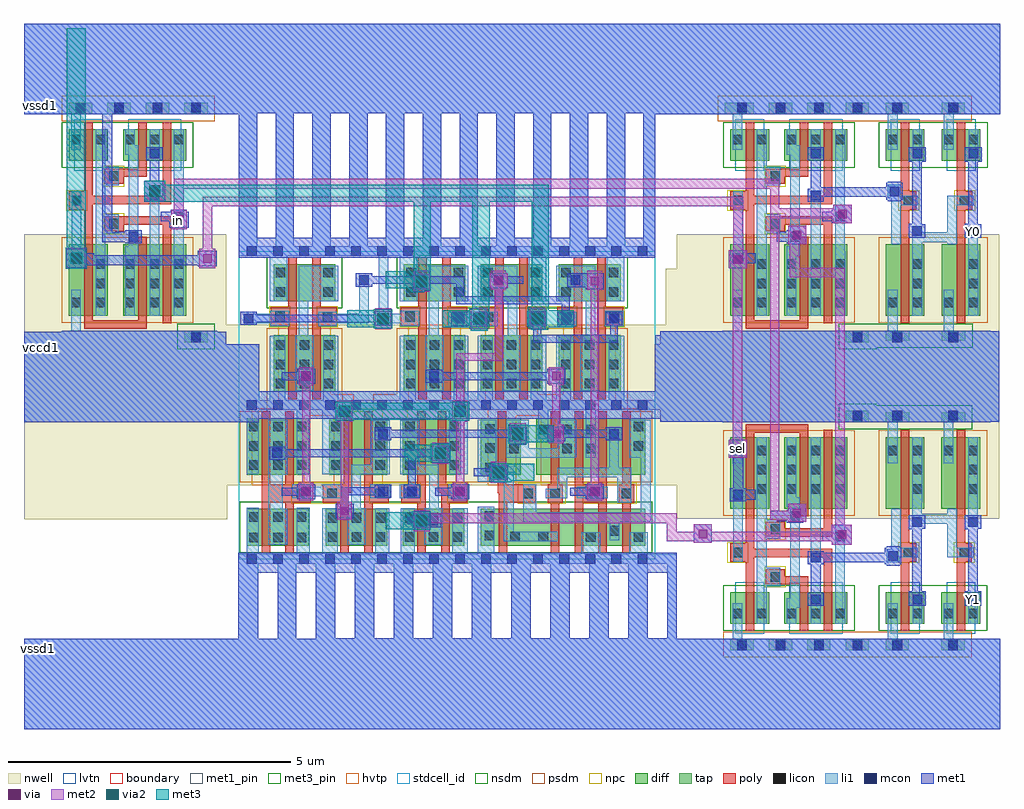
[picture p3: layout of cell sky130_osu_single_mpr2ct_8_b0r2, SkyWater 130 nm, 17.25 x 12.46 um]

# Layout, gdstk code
import gdstk
lib = gdstk.Library(unit=1e-6, precision=1e-09)
def R(c, l, rs):  # rectangles x0, y0, x1, y1
    for r in rs: c.add(gdstk.rectangle(r[:2], r[2:], *l))
def A(c, l, x, y, w, h, nx, ny, dx, dy):  # array of equal rectangles
    R(c, l, [(x+i*dx, y+j*dy, x+i*dx+w, y+j*dy+h) for i in range(nx) for j in range(ny)])
nwell = (64, 20)
diff = (65, 20)
tap = (65, 44)
poly = (66, 20)
licon = (66, 44)
li1 = (67, 20)
mcon = (67, 44)
met1_pin = (68, 16)
met1 = (68, 20)
via = (68, 44)
met2 = (69, 20)
via2 = (69, 44)
met3_pin = (70, 16)
met3 = (70, 20)
hvtp = (78, 44)
stdcell_id = (81, 4)
nsdm = (93, 44)
psdm = (94, 20)
npc = (95, 20)
lvtn = (125, 44)
boundary = (235, 4)

sky130_osu_sc_12t_hs__mu = lib.new_cell('sky130_osu_sc_12T_hs__mux2_1')
R(sky130_osu_sc_12t_hs__mu, nwell, [(-0.05,2.42,2.76,4.51)])
R(sky130_osu_sc_12t_hs__mu, diff, [(0.13,0.57,0.815,1.12), (1.085,0.57,2.2,1.12), (0.13,2.6,0.815,3.86), (1.085,2.6,2.2,3.86)])
A(sky130_osu_sc_12t_hs__mu, tap, 0.13, 0.1, 0.41, 0.2, 4, 1, 0.68, 0)
R(sky130_osu_sc_12t_hs__mu, tap, [(2.17,4.13,2.58,4.33)])
R(sky130_osu_sc_12t_hs__mu, poly, [(0.4,0.44,0.55,1.66), (1.355,0.44,1.505,1.26), (1.785,0.44,1.935,1.74), (0.76,1.26,1.505,1.41), (0.76,1.41,1.095,1.53), (0.13,1.66,0.55,1.74), (0.13,1.74,1.935,1.89), (0.13,1.89,0.55,1.99), (0.4,1.99,0.55,3.94), (0.76,2.1,1.935,2.25), (0.76,2.25,1.095,2.37), (1.785,2.25,1.935,3.99), (1.355,2.47,1.505,3.94), (0.4,3.94,1.505,4.09)])
A(sky130_osu_sc_12t_hs__mu, licon, 0.25, 0.13, 0.17, 0.17, 4, 1, 0.68, 0)
A(sky130_osu_sc_12t_hs__mu, licon, 0.605, 2.865, 0.17, 0.17, 1, 3, 0, 0.34)
A(sky130_osu_sc_12t_hs__mu, licon, 1.125, 2.865, 0.17, 0.17, 1, 3, 0, 0.34)
A(sky130_osu_sc_12t_hs__mu, licon, 1.56, 2.865, 0.17, 0.17, 1, 3, 0, 0.34)
A(sky130_osu_sc_12t_hs__mu, licon, 1.99, 2.865, 0.17, 0.17, 1, 3, 0, 0.34)
R(sky130_osu_sc_12t_hs__mu, licon, [(0.17,0.665,0.34,0.835), (0.605,0.665,0.775,0.835), (1.125,0.665,1.295,0.835), (1.56,0.665,1.73,0.835), (1.99,0.665,2.16,0.835), (0.84,1.31,1.01,1.48), (0.18,1.74,0.35,1.91), (0.84,2.15,1.01,2.32), (0.17,3.545,0.34,3.715), (2.29,4.13,2.46,4.3)])
R(sky130_osu_sc_12t_hs__mu, li1, [(0,0,2.75,0.3), (0.17,0.3,0.34,0.93), (0.6,0.57,0.775,1.06), (1.125,0.57,1.295,0.85), (1.555,0.57,1.73,1.08), (1.985,0.57,2.16,1.12), (1.125,0.85,1.355,1.02), (1.185,1.02,1.355,2.63), (0.6,1.06,0.77,1.23), (1.985,1.12,2.155,2.72), (0.6,1.23,1.01,1.56), (0.6,1.56,0.77,2.07), (1.555,1.65,1.725,2.6), (0.18,1.66,0.35,2.93), (0.6,2.07,1.01,2.4), (0.6,2.4,0.77,2.6), (0.6,2.6,0.775,3.86), (1.555,2.6,1.73,3.86), (1.125,2.63,1.355,2.8), (1.985,2.72,2.16,3.86), (1.125,2.8,1.295,3.86), (0.17,3.4,0.34,4.13), (0,4.13,2.75,4.44)])
A(sky130_osu_sc_12t_hs__mu, mcon, 0.25, 0.1, 0.17, 0.17, 4, 1, 0.68, 0)
R(sky130_osu_sc_12t_hs__mu, mcon, [(1.555,0.91,1.725,1.08), (1.555,1.65,1.725,1.82), (1.985,2.02,2.155,2.19), (1.185,2.38,1.355,2.55), (0.18,2.76,0.35,2.93), (2.29,4.16,2.46,4.33)])
R(sky130_osu_sc_12t_hs__mu, met1, [(0,0,2.75,0.3), (1.495,0.88,1.785,1.11), (1.555,1.11,1.725,1.62), (1.495,1.62,1.785,1.85), (1.925,1.99,2.215,2.02), (1.755,2.02,2.215,2.19), (1.925,2.19,2.215,2.22), (1.125,2.35,1.415,2.38), (0.95,2.38,1.415,2.55), (1.125,2.55,1.415,2.58), (0.12,2.73,0.41,2.76), (0.12,2.76,0.58,2.93), (0.12,2.93,0.41,2.96), (0,4.13,2.75,4.44)])
R(sky130_osu_sc_12t_hs__mu, nsdm, [(0.005,0.445,2.325,1.245), (2.045,4.005,2.705,4.455)])
R(sky130_osu_sc_12t_hs__mu, psdm, [(0.005,-0.025,2.705,0.425), (0.005,2.475,2.325,3.985)])
R(sky130_osu_sc_12t_hs__mu, npc, [(0.74,1.21,1.11,1.58), (0.08,1.64,0.45,2.01), (0.74,2.05,1.11,2.42)])
R(sky130_osu_sc_12t_hs__mu, lvtn, [(0.22,0.39,0.73,1.3), (1.175,0.39,2.115,1.3)])
sky130_osu_sc_12t_hs__mu.add(gdstk.Label('S0', (0.27,2.85), layer=68, texttype=5))
sky130_osu_sc_12t_hs__mu.add(gdstk.Label('Y', (1.645,1.74), layer=68, texttype=5))
sky130_osu_sc_12t_hs__mu.add(gdstk.Label('A0', (1.265,2.47), layer=68, texttype=5))
sky130_osu_sc_12t_hs__mu.add(gdstk.Label('A1', (2.075,2.11), layer=68, texttype=5))
sky130_osu_sc_12t_hs__mu.add(gdstk.Label('vccd1', (2.38,4.2), layer=68, texttype=5))
sky130_osu_sc_12t_hs__mu.add(gdstk.Label('vssd1 ', (0.34,0.24), layer=68, texttype=5))

sky130_osu_sc_12t_hs__in = lib.new_cell('sky130_osu_sc_12T_hs__inv_1')
R(sky130_osu_sc_12t_hs__in, nwell, [(-0.05,2.42,0.995,4.51)])
R(sky130_osu_sc_12t_hs__in, diff, [(0.13,0.57,0.815,1.12), (0.13,2.6,0.815,3.86)])
R(sky130_osu_sc_12t_hs__in, tap, [(0.13,0.1,0.54,0.3), (0.13,4.13,0.55,4.3)])
R(sky130_osu_sc_12t_hs__in, poly, [(0.4,0.44,0.55,1.66), (0.4,1.66,0.67,1.99), (0.4,1.99,0.55,3.99)])
A(sky130_osu_sc_12t_hs__in, licon, 0.605, 2.865, 0.17, 0.17, 1, 3, 0, 0.34)
R(sky130_osu_sc_12t_hs__in, licon, [(0.25,0.13,0.42,0.3), (0.17,0.665,0.34,0.835), (0.605,0.665,0.775,0.835), (0.45,1.74,0.62,1.91), (0.17,3.545,0.34,3.715), (0.25,4.13,0.42,4.3)])
R(sky130_osu_sc_12t_hs__in, li1, [(0,0,0.99,0.3), (0.17,0.3,0.34,0.93), (0.605,0.57,0.775,1.08), (0.23,1.74,0.7,1.91), (0.23,1.91,0.4,2.6), (0.6,2.28,0.77,2.715), (0.6,2.715,0.775,3.86), (0.17,3.4,0.34,4.13), (0,4.13,0.99,4.44)])
R(sky130_osu_sc_12t_hs__in, mcon, [(0.25,0.1,0.42,0.27), (0.605,0.91,0.775,1.08), (0.6,2.28,0.77,2.45), (0.25,4.16,0.42,4.33)])
R(sky130_osu_sc_12t_hs__in, met1, [(0,0,0.99,0.3), (0.54,0.88,0.835,1.14), (0.6,1.14,0.77,2.24), (0.54,2.24,0.77,2.245), (0.54,2.245,0.83,2.48), (0,4.13,0.99,4.44)])
R(sky130_osu_sc_12t_hs__in, nsdm, [(0.005,0.445,0.94,1.245), (0.005,4.005,0.675,4.425)])
R(sky130_osu_sc_12t_hs__in, psdm, [(0.005,-0.025,0.665,0.425), (0.005,2.475,0.94,3.985)])
R(sky130_osu_sc_12t_hs__in, npc, [(0.35,1.64,0.72,2.01)])
R(sky130_osu_sc_12t_hs__in, lvtn, [(0.22,0.39,0.73,1.3)])
sky130_osu_sc_12t_hs__in.add(gdstk.Label('A', (0.32,1.85), layer=67, texttype=5))
sky130_osu_sc_12t_hs__in.add(gdstk.Label('Y', (0.75,1.72), layer=68, texttype=5))
sky130_osu_sc_12t_hs__in.add(gdstk.Label('vccd1', (0.34,4.2), layer=68, texttype=5))
sky130_osu_sc_12t_hs__in.add(gdstk.Label('vssd1', (0.34,0.24), layer=68, texttype=5))

scs130hd_mpr2ct_8 = lib.new_cell('scs130hd_mpr2ct_8')
R(scs130hd_mpr2ct_8, nwell, [(-0.19,1.305,7.55,2.31), (-0.215,2.31,7.55,3.15), (-0.19,3.15,7.55,4.135)])
R(scs130hd_mpr2ct_8, diff, [(0.145,0.235,1.235,0.885), (1.535,0.235,2.625,0.885), (2.895,0.235,3.985,0.885), (4.275,0.235,7.185,0.885), (0.145,1.485,1.235,2.485), (1.595,1.485,2.625,2.485), (2.895,1.485,3.925,2.485), (4.275,1.485,4.985,2.485), (5.255,1.485,7.185,2.485), (0.615,2.955,1.705,3.955), (2.915,2.955,4.005,3.955), (4.275,2.955,5.365,3.955), (5.655,2.955,6.745,3.955), (0.615,4.555,1.705,5.205), (2.915,4.555,4.005,5.205), (4.275,4.555,5.365,5.205), (5.655,4.555,6.745,5.205)])
A(scs130hd_mpr2ct_8, poly, 5.515, 0.105, 0.15, 0.89, 4, 1, 0.42, 0)
A(scs130hd_mpr2ct_8, poly, 5.515, 1.325, 0.15, 1.29, 4, 1, 0.42, 0)
R(scs130hd_mpr2ct_8, poly, [(0.405,0.105,0.555,0.995), (0.825,0.105,0.975,0.995), (1.795,0.105,1.945,0.995), (2.215,0.105,2.365,0.995), (3.155,0.105,3.305,0.995), (3.575,0.105,3.725,0.995), (4.595,0.105,4.745,0.995), (0.405,0.995,1.275,1.325), (1.485,0.995,1.945,1.175), (2.215,0.995,2.65,1.325), (2.87,0.995,3.305,1.325), (3.575,0.995,4.035,1.175), (4.595,0.995,5.245,1.16), (5.455,0.995,5.725,1.325), (5.935,0.995,6.505,1.325), (6.715,0.995,6.985,1.325), (4.575,1.16,5.245,1.325), (1.485,1.175,2.005,1.325), (3.515,1.175,4.035,1.325), (0.405,1.325,0.555,2.615), (0.825,1.325,0.975,2.615), (1.855,1.325,2.005,2.615), (2.215,1.325,2.365,2.615), (3.155,1.325,3.305,2.615), (3.515,1.325,3.665,2.615), (4.575,1.325,4.725,2.615), (0.875,2.825,1.025,4.115), (1.295,2.825,1.445,4.115), (3.175,2.825,3.325,4.115), (3.595,2.825,3.745,4.115), (4.535,2.825,4.685,4.115), (4.955,2.825,5.105,4.115), (5.915,2.825,6.065,4.115), (6.335,2.825,6.485,4.115), (0.565,4.115,1.025,4.445), (1.295,4.115,1.735,4.445), (2.865,4.115,3.325,4.445), (3.595,4.115,4.035,4.445), (4.245,4.115,4.685,4.445), (4.955,4.115,5.415,4.445), (5.625,4.115,6.065,4.445), (6.335,4.115,6.795,4.445), (0.875,4.445,1.025,5.335), (1.295,4.445,1.445,5.335), (3.175,4.445,3.325,5.335), (3.595,4.445,3.745,5.335), (4.535,4.445,4.685,5.335), (4.955,4.445,5.105,5.335), (5.915,4.445,6.065,5.335), (6.335,4.445,6.485,5.335)])
A(scs130hd_mpr2ct_8, licon, 0.185, 0.295, 0.17, 0.17, 3, 2, 0.42, 0.36)
A(scs130hd_mpr2ct_8, licon, 1.575, 0.305, 0.17, 0.17, 3, 2, 0.42, 0.34)
A(scs130hd_mpr2ct_8, licon, 2.935, 0.305, 0.17, 0.17, 3, 2, 0.42, 0.34)
A(scs130hd_mpr2ct_8, licon, 4.355, 1.535, 0.17, 0.17, 1, 3, 0, 0.34)
A(scs130hd_mpr2ct_8, licon, 0.185, 1.575, 0.17, 0.17, 3, 3, 0.42, 0.34)
A(scs130hd_mpr2ct_8, licon, 1.635, 1.575, 0.17, 0.17, 1, 3, 0, 0.34)
A(scs130hd_mpr2ct_8, licon, 2.415, 1.575, 0.17, 0.17, 1, 3, 0, 0.34)
A(scs130hd_mpr2ct_8, licon, 2.935, 1.575, 0.17, 0.17, 1, 3, 0, 0.34)
A(scs130hd_mpr2ct_8, licon, 3.715, 1.575, 0.17, 0.17, 1, 3, 0, 0.34)
A(scs130hd_mpr2ct_8, licon, 5.295, 2.205, 0.17, 0.17, 3, 1, 0.42, 0)
A(scs130hd_mpr2ct_8, licon, 0.655, 3.015, 0.17, 0.17, 3, 3, 0.42, 0.34)
A(scs130hd_mpr2ct_8, licon, 2.955, 3.015, 0.17, 0.17, 3, 3, 0.42, 0.34)
A(scs130hd_mpr2ct_8, licon, 4.315, 3.015, 0.17, 0.17, 3, 3, 0.42, 0.34)
A(scs130hd_mpr2ct_8, licon, 5.695, 3.015, 0.17, 0.17, 3, 3, 0.42, 0.34)
R(scs130hd_mpr2ct_8, licon, [(6.135,0.305,6.305,0.475), (6.975,0.305,7.145,0.475), (4.795,0.315,4.965,0.485), (5.295,0.315,5.465,0.485), (4.345,0.33,4.515,0.5), (6.555,0.415,6.725,0.585), (4.345,0.67,4.515,0.84), (1.025,1.075,1.195,1.245), (1.565,1.075,1.735,1.245), (2.405,1.075,2.575,1.245), (2.945,1.075,3.115,1.245), (3.785,1.075,3.955,1.245), (5.025,1.075,5.195,1.245), (5.505,1.075,5.675,1.245), (6.18,1.075,6.35,1.245), (6.765,1.075,6.935,1.245), (4.775,1.865,4.945,2.035), (5.715,1.865,5.885,2.035), (6.135,1.865,6.305,2.035), (6.975,1.915,7.145,2.085), (4.775,2.205,4.945,2.375), (6.975,2.255,7.145,2.425), (0.64,4.195,0.81,4.365), (1.48,4.195,1.65,4.365), (2.94,4.195,3.11,4.365), (3.78,4.195,3.95,4.365), (4.33,4.195,4.5,4.365), (5.17,4.195,5.34,4.365), (5.71,4.195,5.88,4.365), (6.55,4.195,6.72,4.365), (0.655,4.635,0.825,4.805), (1.495,4.635,1.665,4.805), (2.955,4.635,3.125,4.805), (3.795,4.635,3.965,4.805), (4.315,4.635,4.485,4.805), (5.155,4.635,5.325,4.805), (5.695,4.635,5.865,4.805), (6.535,4.635,6.705,4.805), (0.655,4.975,0.825,5.145), (1.495,4.975,1.665,5.145), (2.955,4.975,3.125,5.145), (3.795,4.975,3.965,5.145), (4.315,4.975,4.485,5.145), (5.155,4.975,5.325,5.145), (5.695,4.975,5.865,5.145), (6.535,4.975,6.705,5.145)])
A(scs130hd_mpr2ct_8, li1, 0, -0.085, 7.36, 0.17, 1, 3, 0, 2.72)
R(scs130hd_mpr2ct_8, li1, [(0.145,0.085,0.355,0.905), (1.025,0.085,1.255,0.905), (1.475,0.085,1.745,0.895), (2.415,0.085,2.655,0.895), (2.865,0.085,3.105,0.895), (3.775,0.085,4.045,0.895), (4.225,0.085,4.515,0.92), (6.055,0.085,6.385,0.475), (6.895,0.085,7.225,0.475), (0.525,0.255,0.855,0.885), (1.915,0.255,2.245,0.895), (3.275,0.255,3.605,0.895), (4.685,0.315,5.64,0.485), (6.555,0.335,6.725,0.655), (4.685,0.485,4.855,1.365), (5.025,0.655,7.275,0.825), (5.025,0.825,5.255,1.325), (7.105,0.825,7.275,1.785), (0.525,0.885,0.775,1.485), (1.985,0.895,2.155,1.495), (3.365,0.895,3.535,1.495), (6.69,0.995,6.935,1.445), (0.945,1.075,1.275,1.105), (1.465,1.075,1.815,1.105), (2.325,1.075,2.675,1.325), (2.845,1.075,3.195,1.325), (3.705,1.075,4.055,1.325), (5.425,1.075,5.8,1.245), (5.97,1.075,6.52,1.275), (0.945,1.105,1.815,1.275), (5.63,1.245,5.8,1.445), (0.945,1.275,1.275,1.325), (1.465,1.275,1.815,1.325), (4.225,1.365,4.855,1.535), (5.63,1.445,6.935,1.615), (0.525,1.485,0.855,2.465), (0.145,1.495,0.355,2.635), (1.025,1.495,1.255,2.635), (1.475,1.495,1.805,2.635), (1.985,1.495,2.665,1.665), (2.855,1.495,3.535,1.665), (3.715,1.495,4.045,2.635), (4.225,1.535,4.675,1.615), (4.225,1.615,4.545,2.465), (6.545,1.615,6.715,2.295), (2.335,1.665,2.665,2.45), (2.855,1.665,3.185,2.45), (4.725,1.785,5.965,1.955), (6.135,1.785,6.305,2.635), (6.895,1.785,7.275,2.465), (4.725,1.955,5.125,2.465), (5.635,1.955,5.965,2.465), (5.295,2.125,5.465,2.635), (0.545,2.805,0.825,3.945), (1.495,2.805,1.755,3.945), (2.845,2.805,3.125,3.945), (3.795,2.805,4.055,3.945), (4.225,2.805,4.485,3.945), (5.155,2.805,5.435,3.945), (5.605,2.805,5.865,3.945), (6.535,2.805,6.815,3.945), (0.995,2.975,1.325,3.955), (3.295,2.975,3.625,3.955), (4.655,2.975,4.985,3.955), (6.035,2.975,6.365,3.955), (1.06,3.955,1.23,4.555), (3.36,3.955,3.53,4.555), (4.75,3.955,4.92,4.555), (6.13,3.955,6.3,4.555), (0.555,4.115,0.89,4.165), (1.4,4.115,1.735,4.165), (2.855,4.115,3.19,4.165), (3.7,4.115,4.035,4.165), (4.245,4.115,4.58,4.165), (5.09,4.115,5.425,4.385), (5.625,4.115,5.96,4.365), (6.47,4.115,6.805,4.385), (0.085,4.165,0.89,4.335), (1.4,4.165,2.295,4.335), (2.465,4.165,3.19,4.335), (3.7,4.165,4.58,4.335), (0.555,4.335,0.89,4.385), (1.4,4.335,1.735,4.365), (2.125,4.335,2.295,5.015), (2.855,4.335,3.19,4.385), (3.7,4.335,4.035,4.365), (4.245,4.335,4.58,4.365), (0.545,4.555,0.855,5.355), (1.06,4.555,1.755,5.185), (2.845,4.555,3.155,5.355), (3.36,4.555,4.055,5.185), (4.225,4.555,4.92,5.185), (5.125,4.555,5.435,5.355), (5.605,4.555,6.3,5.185), (6.505,4.555,6.815,5.355)])
A(scs130hd_mpr2ct_8, mcon, 0.145, -0.085, 0.17, 0.17, 16, 3, 0.46, 2.72)
R(scs130hd_mpr2ct_8, mcon, [(3.345,0.595,3.515,0.765), (1.105,1.105,1.275,1.275), (3.825,1.105,3.995,1.275), (6.205,1.105,6.375,1.275), (2.465,1.11,2.635,1.28), (2.975,1.11,3.145,1.28), (4.505,1.445,4.675,1.615), (0.595,1.785,0.765,1.955), (2.465,2.125,2.635,2.295), (6.545,2.125,6.715,2.295), (1.105,3.145,1.275,3.315), (3.365,3.145,3.535,3.315), (0.085,4.165,0.255,4.335), (2.465,4.165,2.635,4.335), (3.815,4.165,3.985,4.335), (5.185,4.165,5.355,4.335), (5.695,4.165,5.865,4.335), (6.545,4.165,6.715,4.335), (2.125,4.845,2.295,5.015), (4.505,4.845,4.675,5.015), (5.865,4.845,6.035,5.015)])
R(scs130hd_mpr2ct_8, met1, [(0,-0.24,7.36,0.115), (3.07,0.55,3.39,0.565), (3.07,0.565,3.575,0.61), (2.98,0.61,3.575,0.75), (1.71,0.72,2.03,0.98), (3.07,0.75,3.575,0.795), (3.07,0.795,3.39,0.81), (1.8,0.98,1.94,1.125), (1.03,1.06,1.35,1.12), (3.75,1.06,4.07,1.12), (6.13,1.06,6.45,1.12), (2.405,1.08,2.695,1.125), (2.915,1.08,3.205,1.31), (0.755,1.12,1.35,1.26), (3.475,1.12,4.07,1.26), (5.855,1.12,6.45,1.26), (1.8,1.125,2.695,1.265), (1.03,1.26,1.35,1.32), (3.75,1.26,4.07,1.32), (6.13,1.26,6.45,1.32), (2.405,1.265,2.695,1.31), (2.99,1.31,3.13,1.8), (4.43,1.4,4.75,1.46), (4.155,1.46,4.75,1.6), (4.43,1.6,4.75,1.66), (3.41,1.74,3.73,1.8), (0.535,1.755,0.825,1.8), (0.535,1.8,3.73,1.94), (0.535,1.94,0.825,1.985), (3.41,1.94,3.73,2), (4.77,2.08,5.09,2.14), (5.45,2.08,5.77,2.14), (2.405,2.095,2.695,2.14), (6.485,2.095,6.775,2.14), (2.405,2.14,5.09,2.28), (5.45,2.14,6.775,2.28), (2.405,2.28,2.695,2.325), (4.77,2.28,5.09,2.34), (5.45,2.28,5.77,2.34), (6.485,2.28,6.775,2.325), (0,2.48,7.36,2.96), (1.03,3.1,1.35,3.16), (5.45,3.1,5.77,3.16), (3.305,3.115,3.595,3.16), (0.755,3.16,1.35,3.3), (3.305,3.16,5.77,3.3), (1.03,3.3,1.35,3.36), (3.305,3.3,3.595,3.345), (5.45,3.3,5.77,3.36), (5.2,3.825,6.7,3.965), (5.2,3.965,5.34,4.105), (6.56,3.965,6.7,4.135), (4.08,4.105,4.4,4.12), (5.11,4.105,5.43,4.365), (2.39,4.12,2.71,4.18), (3.755,4.12,4.4,4.365), (0.025,4.135,0.315,4.18), (5.635,4.135,5.925,4.365), (6.485,4.135,6.775,4.365), (0.025,4.18,2.71,4.32), (0.025,4.32,0.315,4.365), (2.39,4.32,2.71,4.38), (5.71,4.365,5.85,4.505), (3.84,4.505,5.85,4.645), (3.84,4.645,3.98,4.86), (3.07,4.77,3.39,4.83), (6.13,4.77,6.45,4.8), (4.43,4.785,4.75,4.86), (5.805,4.8,6.45,5.045), (2.065,4.815,2.355,4.86), (3.065,4.83,3.395,4.86), (2.065,4.86,3.98,5), (4.43,4.86,5.025,5), (2.065,5,2.355,5.045), (3.07,5,3.39,5.03), (4.43,5,4.75,5.045), (0,5.325,7.36,5.68)])
R(scs130hd_mpr2ct_8, via, [(3.155,0.605,3.305,0.755), (1.795,0.775,1.945,0.925), (1.115,1.115,1.265,1.265), (3.835,1.115,3.985,1.265), (6.215,1.115,6.365,1.265), (4.515,1.455,4.665,1.605), (3.495,1.795,3.645,1.945), (4.855,2.135,5.005,2.285), (5.535,2.135,5.685,2.285), (1.115,3.155,1.265,3.305), (5.535,3.155,5.685,3.305), (4.165,4.16,4.315,4.31), (5.195,4.16,5.345,4.31), (2.475,4.175,2.625,4.325), (3.155,4.825,3.305,4.975), (4.515,4.84,4.665,4.99), (6.215,4.84,6.365,4.99)])
R(scs130hd_mpr2ct_8, met2, [(3.09,0.495,3.37,0.865), (1.74,0.69,2,1.01), (1.8,1.01,1.94,2.425), (1.06,1.03,1.32,1.35), (3.78,1.03,4.04,1.35), (6.16,1.03,6.42,1.35), (4.45,1.345,4.73,1.715), (1.12,1.35,1.26,3.07), (3.84,1.35,3.98,2.425), (6.22,1.35,6.36,4.755), (3.42,1.685,3.7,2.055), (4.79,2.025,5.07,2.395), (5.48,2.05,5.74,2.37), (5.54,2.37,5.68,3.07), (1.73,2.425,2.01,2.795), (3.77,2.425,4.05,2.795), (3.84,2.795,3.98,3.5), (1.06,3.07,1.32,3.39), (5.48,3.07,5.74,3.39), (3.84,3.5,4.66,3.64), (4.52,3.64,4.66,4.755), (2.41,4.06,2.69,4.43), (4.1,4.06,4.38,4.43), (5.14,4.06,5.42,4.43), (3.09,4.72,3.37,5.09), (4.46,4.755,4.72,4.8), (6.16,4.755,6.42,5.09), (4.43,4.8,4.75,5.045), (4.46,5.045,4.72,5.09)])
R(scs130hd_mpr2ct_8, via2, [(3.13,0.58,3.33,0.78), (4.49,1.43,4.69,1.63), (3.46,1.77,3.66,1.97), (4.83,2.11,5.03,2.31), (1.77,2.51,1.97,2.71), (3.81,2.51,4.01,2.71), (2.45,4.145,2.65,4.345), (4.14,4.145,4.34,4.345), (5.18,4.145,5.38,4.345), (3.13,4.805,3.33,5.005)])
R(scs130hd_mpr2ct_8, met3_pin, [(3.065,0.515,3.395,0.845), (4.425,1.365,4.755,1.695), (3.395,1.705,3.725,2.035), (4.765,2.045,5.095,2.375), (2.385,4.08,2.715,4.41), (4.075,4.08,4.405,4.41), (5.115,4.08,5.445,4.41), (3.065,4.74,3.395,5.07)])
R(scs130hd_mpr2ct_8, met3, [(3.065,0.515,3.395,0.525), (3.055,0.525,3.395,0.53), (2.595,0.53,3.395,0.83), (3.065,0.83,3.395,0.845), (4.51,1.355,4.81,1.365), (4.425,1.365,4.81,1.38), (4.425,1.38,5.225,1.68), (4.425,1.68,4.755,1.695), (3.395,1.705,3.725,1.72), (2.935,1.72,3.735,2.02), (4.78,2.015,5.08,2.045), (3.395,2.02,3.725,2.035), (4.765,2.045,5.095,2.06), (4.765,2.06,5.565,2.36), (4.765,2.36,5.095,2.375), (1.705,2.445,2.035,2.46), (3.745,2.445,4.075,2.46), (1.705,2.46,4.075,2.76), (1.705,2.76,2.035,2.775), (3.745,2.76,4.075,2.775), (4.1,4.035,4.4,4.08), (5.17,4.055,5.47,4.08), (2.385,4.08,2.715,4.095), (4.075,4.08,4.405,4.095), (5.115,4.08,5.47,4.095), (1.915,4.095,2.715,4.395), (3.605,4.095,4.405,4.395), (5.115,4.095,5.915,4.395), (2.385,4.395,2.715,4.41), (4.075,4.395,4.405,4.41), (5.115,4.395,5.445,4.41), (2.975,4.715,3.275,4.74), (2.975,4.74,3.395,4.785), (2.595,4.785,3.395,5.085)])
R(scs130hd_mpr2ct_8, hvtp, [(0.225,1.305,1.155,2.53), (1.675,1.305,2.545,2.53), (2.975,1.305,3.845,2.665), (4.395,1.305,4.905,2.53), (5.335,1.305,7.105,2.53), (0.225,2.53,2.545,2.665), (4.395,2.53,7.105,2.665), (0.695,2.665,2.035,2.91), (2.995,2.665,3.845,2.775), (4.395,2.665,6.665,2.775), (2.995,2.775,3.925,4.135), (4.355,2.775,6.665,2.91), (0.695,2.91,1.625,4.135), (4.355,2.91,5.285,4.135), (5.735,2.91,6.665,4.135)])
R(scs130hd_mpr2ct_8, stdcell_id, [(0,0,7.36,5.44)])
R(scs130hd_mpr2ct_8, nsdm, [(0.02,0.11,7.31,1.01), (0.49,4.43,1.83,5.33), (2.79,4.43,6.87,5.33)])
R(scs130hd_mpr2ct_8, psdm, [(0.02,1.36,7.31,2.61), (0.49,2.61,1.84,2.92), (2.375,2.61,6.87,2.91), (2.79,2.91,6.87,4.08), (0.49,2.92,1.83,4.08)])
R(scs130hd_mpr2ct_8, npc, [(0.925,0.975,1.835,1.345), (2.305,0.975,3.215,1.345), (3.685,0.975,4.055,1.345), (4.925,0.975,5.775,1.345), (6.08,0.975,7.035,1.345), (0.54,4.095,0.91,4.465), (1.38,4.095,1.75,4.465), (2.84,4.095,3.21,4.465), (3.68,4.095,4.6,4.465), (5.07,4.095,5.98,4.465), (6.45,4.095,6.82,4.465)])
R(scs130hd_mpr2ct_8, boundary, [(0,0,7.36,5.44)])
scs130hd_mpr2ct_8.add(gdstk.Label('VPB', (0.46,2.71), layer=64, texttype=5))
scs130hd_mpr2ct_8.add(gdstk.Label('VNB', (0.23,5.435), layer=64, texttype=59))
scs130hd_mpr2ct_8.add(gdstk.Label('VNB', (0.41,-0.005), layer=64, texttype=59))
scs130hd_mpr2ct_8.add(gdstk.Label('vgnd', (0.69,5.445), layer=68, texttype=5))
scs130hd_mpr2ct_8.add(gdstk.Label('vgnd', (0.68,0), layer=68, texttype=5))
scs130hd_mpr2ct_8.add(gdstk.Label('vpwr', (0.695,2.725), layer=68, texttype=5))
scs130hd_mpr2ct_8.add(gdstk.Label('A1', (4.24,4.245), layer=70, texttype=5))
scs130hd_mpr2ct_8.add(gdstk.Label('A0', (3.23,4.905), layer=70, texttype=5))
scs130hd_mpr2ct_8.add(gdstk.Label('B0', (2.55,4.245), layer=70, texttype=5))
scs130hd_mpr2ct_8.add(gdstk.Label('B1', (5.28,4.245), layer=70, texttype=5))
scs130hd_mpr2ct_8.add(gdstk.Label('R0', (3.56,1.87), layer=70, texttype=5))
scs130hd_mpr2ct_8.add(gdstk.Label('R1', (4.59,1.53), layer=70, texttype=5))
scs130hd_mpr2ct_8.add(gdstk.Label('R2', (3.23,0.68), layer=70, texttype=5))
scs130hd_mpr2ct_8.add(gdstk.Label('R3', (4.93,2.21), layer=70, texttype=5))

sky130_osu_single_mpr2ct = lib.new_cell('sky130_osu_single_mpr2ct_8_b0r2')
R(sky130_osu_single_mpr2ct, nwell, [(0,3.71,3.595,4.31), (11.535,3.72,12.35,4.31), (17.005,3.72,17.23,5.43), (16.26,3.86,16.41,4.035), (0,4.31,4.17,5.42), (11.24,4.31,12.35,5.11), (9.43,5.11,12.35,5.275), (11.24,5.275,12.35,5.43), (0,5.42,4.15,5.64), (11.24,5.43,17.23,5.485), (11.155,5.485,17.23,5.64), (0,5.64,4.155,7.005), (11.145,5.64,17.23,6.8), (11.155,6.8,17.23,6.955), (11.245,6.955,17.23,7.03), (0,7.005,3.64,7.14), (11.34,7.03,12.35,8.13), (17.005,7.03,17.23,8.74), (0,7.14,3.57,8.74), (11.535,8.13,12.35,8.225), (11.535,8.225,12.325,8.74), (12.535,8.225,12.695,8.405)])
R(sky130_osu_single_mpr2ct, diff, [(16.68,2.205,16.855,2.375)])
R(sky130_osu_single_mpr2ct, tap, [(12.385,10.865,12.535,11.03), (13.165,10.865,13.54,11.03), (12.385,11.03,12.495,11.065)])
A(sky130_osu_single_mpr2ct, li1, 5.155, 1.605, 0.345, 1.345, 9, 1, 0.69, 0)
A(sky130_osu_single_mpr2ct, li1, 6.395, 8.51, 0.325, 2.37, 5, 1, 0.65, 0)
A(sky130_osu_single_mpr2ct, li1, 4.445, 8.53, 0.325, 2.35, 3, 1, 0.65, 0)
R(sky130_osu_single_mpr2ct, li1, [(0.005,0,17.245,1.6), (3.79,1.6,4.135,2.93), (4.48,1.6,4.81,2.93), (5.155,1.6,11.535,1.605), (11.365,1.605,11.535,2.92), (16.685,2.205,16.855,2.375), (11.15,2.92,11.535,2.955), (3.79,2.93,3.825,3.09), (4.665,2.93,4.81,2.95), (15.24,2.945,15.47,3.175), (11.145,2.955,11.535,3.09), (15.865,3.625,16.36,3.805), (16.685,4.985,16.855,5.155), (0.005,5.425,4.15,5.64), (11.24,5.43,17.23,5.64), (0.005,5.64,4.155,6.8), (11.145,5.64,17.23,6.8), (0.005,6.8,3.575,7.005), (11.245,6.8,17.23,7.03), (0.005,7.005,3.57,7.025), (16.69,7.305,16.86,7.475), (6.27,7.325,6.44,8.4), (12.525,8.225,12.705,8.465), (15.855,8.45,15.87,8.605), (5.975,8.475,9.67,8.51), (5.975,8.51,6.07,8.53), (9.645,8.51,9.67,8.53), (3.795,8.53,4.12,10.86), (9.645,8.53,9.97,10.88), (10.295,8.53,10.62,10.88), (10.945,8.53,11.155,10.86), (15.855,8.605,16.395,8.78), (16.685,8.715,16.855,8.885), (15.265,9.385,15.495,9.615), (0.005,10.86,4.12,10.88), (10.945,10.86,17.245,10.88), (0.005,10.88,17.245,12.46)])
R(sky130_osu_single_mpr2ct, mcon, [(16.685,2.205,16.855,2.375), (15.27,2.975,15.44,3.145), (16.685,8.715,16.855,8.885), (15.295,9.415,15.465,9.585)])
R(sky130_osu_single_mpr2ct, met1_pin, [(16.685,2.205,16.855,2.375), (16.685,8.715,16.855,8.885)])
A(sky130_osu_single_mpr2ct, met1, 5.155, 1.605, 0.345, 1.345, 8, 1, 0.69, 0)
A(sky130_osu_single_mpr2ct, met1, 6.395, 8.51, 0.325, 2.37, 5, 1, 0.65, 0)
A(sky130_osu_single_mpr2ct, met1, 4.445, 8.53, 0.325, 2.35, 3, 1, 0.65, 0)
R(sky130_osu_single_mpr2ct, met1, [(0.005,0,17.245,1.6), (3.79,1.6,4.135,2.93), (4.48,1.6,4.81,2.93), (5.155,1.6,11.535,1.605), (10.675,1.605,11.02,2.765), (11.365,1.605,11.535,2.765), (16.685,2.205,16.855,2.375), (10.675,2.765,11.535,2.95), (15.24,2.885,15.47,2.91), (15.21,2.91,15.5,2.95), (3.79,2.93,3.83,3.12), (4.665,2.93,4.81,2.95), (11.15,2.95,11.535,2.955), (13.905,2.95,15.5,3.115), (11.145,2.955,11.535,3.09), (11.15,3.09,11.535,3.12), (13.905,3.115,14.075,3.12), (14.135,3.115,15.5,3.12), (15.21,3.12,15.5,3.205), (15.24,3.205,15.47,3.235), (14.275,3.26,14.625,3.61), (11.83,3.29,12.155,3.615), (13.5,3.66,13.82,3.69), (13.185,3.69,13.82,3.86), (13.5,3.86,13.82,3.98), (12.535,4.225,12.705,4.79), (12.455,4.79,12.78,5.115), (0.005,5.425,4.15,5.64), (11.24,5.43,17.23,5.485), (11.155,5.485,17.23,5.64), (0.005,5.64,4.155,6.8), (11.145,5.64,17.23,6.8), (0.005,6.8,3.575,7.005), (11.155,6.8,17.23,6.955), (11.245,6.955,17.23,7.03), (0.005,7.005,3.57,7.025), (12.455,8.14,12.78,8.465), (0.755,8.15,1.095,8.23), (3.07,8.175,3.41,8.2), (1.105,8.2,3.41,8.23), (0.755,8.23,3.41,8.375), (0.755,8.375,1.11,8.4), (3.07,8.375,3.41,8.455), (0.755,8.4,1.095,8.49), (5.975,8.475,9.67,8.51), (5.975,8.51,6.07,8.53), (9.645,8.51,9.67,8.53), (3.795,8.53,4.12,10.86), (9.645,8.53,9.97,10.88), (10.295,8.53,10.62,10.88), (10.945,8.53,11.155,10.86), (13.5,8.565,13.82,8.89), (1.385,8.6,1.845,8.645), (1.385,8.645,1.785,8.77), (16.685,8.715,16.855,8.885), (1.385,8.77,1.72,8.775), (1.385,8.775,1.555,10.86), (2.57,8.86,2.91,9.14), (14.3,8.94,14.625,9.265), (2.125,9.32,2.495,9.69), (15.265,9.325,15.495,9.355), (13.905,9.34,14.135,9.405), (15.235,9.355,15.525,9.405), (13.905,9.405,15.525,9.51), (14.135,9.51,15.525,9.54), (14.075,9.54,15.525,9.575), (15.235,9.575,15.525,9.65), (15.265,9.65,15.495,9.675), (0.005,10.86,4.12,10.88), (10.945,10.86,17.245,10.88), (0.005,10.88,17.245,12.46)])
R(sky130_osu_single_mpr2ct, via, [(14.375,3.36,14.525,3.51), (11.92,3.375,12.07,3.525), (13.585,3.745,13.735,3.895), (12.545,4.875,12.695,5.025), (12.545,8.225,12.695,8.375), (3.165,8.24,3.315,8.39), (0.85,8.245,1,8.395), (13.585,8.655,13.735,8.805), (2.665,8.925,2.815,9.075), (14.39,9.025,14.54,9.175), (2.235,9.43,2.385,9.58)])
R(sky130_osu_single_mpr2ct, met2, [(14.275,3.26,14.625,3.32), (11.83,3.29,12.155,3.32), (11.36,3.32,14.625,3.49), (11.36,3.49,11.535,3.64), (11.83,3.49,12.155,3.615), (14.275,3.49,14.625,3.61), (14.33,3.61,14.505,7.98), (6.895,3.64,11.535,3.815), (13.5,3.66,13.82,3.69), (13.185,3.69,13.82,3.86), (13.185,3.86,13.345,9.03), (13.5,3.86,13.82,3.98), (8.315,4.37,8.49,4.475), (12.455,4.79,12.78,5.115), (12.525,5.115,12.695,8.14), (13.53,7.98,14.505,8.155), (0.735,8.135,1.11,8.505), (12.455,8.14,12.78,8.465), (3.1,8.145,3.38,8.485), (13.53,8.155,13.705,8.33), (13.53,8.33,13.7,8.565), (12.535,8.465,12.705,9.24), (3.155,8.485,3.325,9.24), (13.5,8.565,13.82,8.89), (2.6,8.83,2.88,9.17), (14.3,8.94,14.625,9.03), (13.185,9.03,14.625,9.2), (2.65,9.17,2.82,9.55), (13.185,9.2,13.345,9.55), (14.3,9.2,14.625,9.265), (3.155,9.24,12.705,9.41), (2.125,9.32,2.495,9.69), (2.65,9.55,13.345,9.72)])
R(sky130_osu_single_mpr2ct, via2, [(0.825,8.22,1.025,8.42), (2.21,9.405,2.41,9.605)])
R(sky130_osu_single_mpr2ct, met3, [(7.88,7.08,8.22,7.43), (8.9,7.1,9.275,7.465), (7.92,7.43,8.22,8.1), (8.975,7.465,9.275,9.32), (6.89,7.785,7.19,9.32), (7.92,8.1,8.225,9.32), (0.735,8.135,1.11,8.505), (0.755,8.505,1.09,12.385), (2.125,9.32,9.275,9.62), (2.125,9.62,2.495,9.69)])
R(sky130_osu_single_mpr2ct, nsdm, [(16.035,1.74,16.085,2.54), (16.555,2.08,16.98,2.5), (15.055,5.3,15.1,5.72), (15.77,5.3,16.085,5.72), (15.055,6.74,15.1,7.16), (15.77,6.74,16.09,7.16), (16.035,9.92,16.09,10.72)])
R(sky130_osu_single_mpr2ct, psdm, [(15.055,1.27,15.1,1.72), (15.76,1.27,16.085,1.72), (16.035,3.77,16.085,5.28), (16.035,7.18,16.09,8.69), (12.26,10.74,12.66,11.155), (13.04,10.74,13.665,11.155), (15.055,10.74,15.1,11.19), (15.76,10.74,16.09,11.19), (12.26,11.155,12.62,11.19)])
sky130_osu_single_mpr2ct.add(gdstk.Reference(sky130_osu_sc_12t_hs__mu, (12.35,11.165), x_reflection=True))
sky130_osu_single_mpr2ct.add(gdstk.Reference(sky130_osu_sc_12t_hs__mu, (0.665,11.165), x_reflection=True))
sky130_osu_single_mpr2ct.add(gdstk.Reference(sky130_osu_sc_12t_hs__mu, (12.35,1.295)))
sky130_osu_single_mpr2ct.add(gdstk.Reference(sky130_osu_sc_12t_hs__in, (15.095,11.165), x_reflection=True))
sky130_osu_single_mpr2ct.add(gdstk.Reference(sky130_osu_sc_12t_hs__in, (16.085,11.165), x_reflection=True))
sky130_osu_single_mpr2ct.add(gdstk.Reference(sky130_osu_sc_12t_hs__in, (16.08,1.295)))
sky130_osu_single_mpr2ct.add(gdstk.Reference(sky130_osu_sc_12t_hs__in, (15.095,1.295)))
sky130_osu_single_mpr2ct.add(gdstk.Reference(scs130hd_mpr2ct_8, (3.795,3.005)))
sky130_osu_single_mpr2ct.add(gdstk.Label('vssd1', (0.285,11.015), layer=68, texttype=5))
sky130_osu_single_mpr2ct.add(gdstk.Label('vssd1', (0.265,1.425), layer=68, texttype=5))
sky130_osu_single_mpr2ct.add(gdstk.Label('vccd1', (0.31,6.735), layer=68, texttype=5))
sky130_osu_single_mpr2ct.add(gdstk.Label('Y0', (16.77,8.8), layer=68, texttype=5))
sky130_osu_single_mpr2ct.add(gdstk.Label('Y1', (16.77,2.29), layer=68, texttype=5))
sky130_osu_single_mpr2ct.add(gdstk.Label('sel', (12.615,4.96), layer=69, texttype=5))
sky130_osu_single_mpr2ct.add(gdstk.Label('in', (2.735,8.98), layer=69, texttype=5))

lib.write_gds('sky130_osu_single_mpr2ct_8_b0r2.gds')
